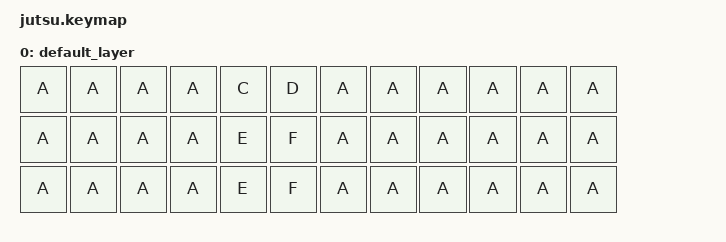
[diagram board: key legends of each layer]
#include <behaviors.dtsi>
#include <dt-bindings/zmk/keys.h>
#include <dt-bindings/zmk/bt.h>
#include <dt-bindings/zmk/outputs.h>
//#include <locale/keys_sv.h>

/ {
    keymap {
        compatible = "zmk,keymap";

        default_layer {
            bindings = <
&kp A &kp A &kp A &kp A &kp C &kp D &kp A &kp A &kp A &kp A &kp A &kp A
&kp A &kp A &kp A &kp A &kp E &kp F &kp A &kp A &kp A &kp A &kp A &kp A
&kp A &kp A &kp A &kp A &kp E &kp F &kp A &kp A &kp A &kp A &kp A &kp A
            >;
        };
    };
};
